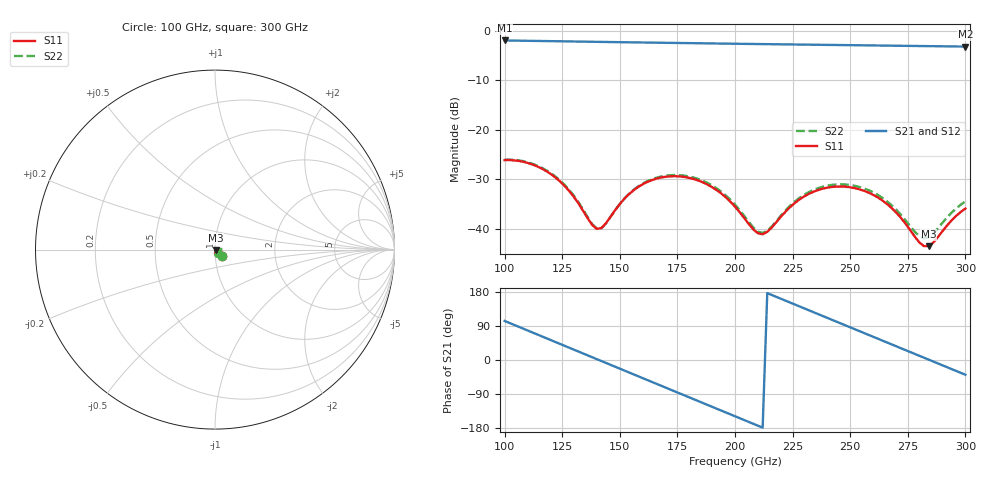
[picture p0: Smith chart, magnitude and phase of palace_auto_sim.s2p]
#  GHZ S DB R 50
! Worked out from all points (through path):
!   101 points, 100 GHz to 300 GHz, reference 50 ohm
!   highest |S21| = -1.98 dB at 100 GHz (marker M1); lowest = -3.2 dB at 300 GHz (marker M2)
!   group delay of S21, straight-line fit = 6.97 ps
!   lowest |S11| = -43.5 dB at 284 GHz (marker M3), VSWR 1.01, Z = 50.5 - j0.455 ohm
!   |S11| at or under -10 dB: start of sweep to end of sweep
!   |S22| runs from -41.9 to -26.0 dB; largest |S21 - S12| = 8.8e-14
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100  -26.13 -42.4  -1.98 103.1  -1.98 103.1  -26.04 -43.1
108  -26.45 -57.9  -2.03 82.9  -2.03 82.9  -26.32 -58.7
116  -27.80 -72.7  -2.09 62.8  -2.09 62.8  -27.63 -73.7
126  -31.30 -87.2  -2.16 37.6  -2.16 37.6  -31.07 -88.7
134  -36.29 -85.8  -2.21 17.4  -2.21 17.4  -36.03 -88.1
138  -39.20 -70.0  -2.24 7.3  -2.24 7.3  -39.02 -73.2
142  -39.82 -41.1  -2.27 -2.7  -2.27 -2.7  -39.85 -44.0
156  -32.20 -18.1  -2.36 -37.9  -2.36 -37.9  -32.10 -19.4
168  -29.62 -36.4  -2.44 -68.1  -2.44 -68.1  -29.42 -37.8
176  -29.41 -50.9  -2.49 -88.2  -2.49 -88.2  -29.16 -52.5
184  -30.22 -65.2  -2.54 -108.3  -2.54 -108.3  -29.93 -66.9
200  -35.50 -83.4  -2.64 -148.4  -2.64 -148.4  -35.10 -85.9
208  -40.13 -68.4  -2.69 -168.5  -2.69 -168.5  -39.74 -71.9
212  -41.07 -46.5  -2.71 -178.5  -2.71 -178.5  -40.80 -50.2
222  -36.48 -17.4  -2.77 156.4  -2.77 156.4  -36.22 -19.9
234  -32.51 -27.9  -2.84 126.4  -2.84 126.4  -32.15 -30.3
250  -31.60 -55.4  -2.93 86.3  -2.93 86.3  -31.14 -57.7
258  -32.69 -69.2  -2.97 66.2  -2.97 66.2  -32.19 -71.3
268  -35.79 -82.5  -3.03 41.2  -3.03 41.2  -35.23 -83.7
280  -42.72 -67.1  -3.10 11.1  -3.10 11.1  -41.47 -65.4
284  -43.48 -42.3  -3.12 1.1  -3.12 1.1  -41.70 -43.1
300  -35.89 -18.5  -3.21 -38.9  -3.21 -38.9  -34.45 -25.3
